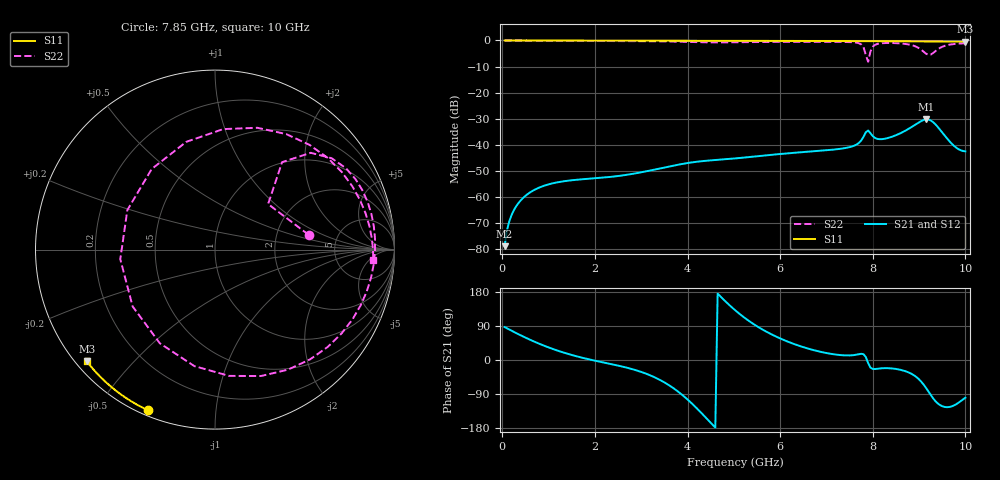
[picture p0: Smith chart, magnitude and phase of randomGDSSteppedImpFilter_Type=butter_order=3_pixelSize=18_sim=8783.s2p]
! freq	dB(S11)	phase(S11)	dB(S12)	phase(S12)
!  dB(S21)	phase(S21)	dB(S22)	phase(S22)
!S-par simulation data
#  GHz  S  DB  R 50
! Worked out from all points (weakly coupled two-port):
!   200 points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, 50 MHz to 10 GHz, reference 50 ohm
!   highest |S21| = -30.31 dB at 9.15 GHz (marker M1); lowest = -79.0 dB at 50 MHz (marker M2)
!   lowest |S11| = -0.5 dB at 10 GHz (marker M3), VSWR 37.00, Z = 1.54 - j18.7 ohm
!   |S11| at or under -10 dB: nowhere
!   |S22| runs from -8.2 to 0.0 dB; largest |S21 - S12| = 0
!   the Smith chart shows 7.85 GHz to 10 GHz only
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0.05  -0.00 -0.8  -78.95 86.9  -78.95 86.9  -0.00 -5.7
0.3  -0.01 -4.8  -63.64 71.0  -63.64 71.0  -0.05 -33.3
0.8  -0.02 -12.8  -56.44 42.8  -56.44 42.8  -0.10 -83.4
1.75  -0.04 -27.7  -53.24 5.2  -53.24 5.2  -0.14 -156.7
2.6  -0.05 -40.8  -51.79 -17.6  -51.79 -17.6  -0.19 147.7
3.4  -0.07 -52.7  -49.14 -52.4  -49.14 -52.4  -0.32 84.7
3.75  -0.08 -57.8  -47.85 -79.2  -47.85 -79.2  -0.45 47.2
4.15  -0.09 -63.6  -46.66 -121.4  -46.66 -121.4  -0.64 -6.6
4.6  -0.10 -69.9  -45.88 -178.4  -45.88 -178.4  -0.75 -74.1
5.05  -0.12 -76.2  -45.24 129.1  -45.24 129.1  -0.69 -132.5
5.7  -0.14 -85.0  -44.08 74.9  -44.08 74.9  -0.58 166.7
6.7  -0.19 -98.1  -42.58 26.8  -42.58 26.8  -0.51 99.6
7.7  -0.25 -110.8  -39.33 15.3  -39.33 15.3  -1.06 30.1
7.9  -0.27 -113.3  -34.57 -8.2  -34.57 -8.2  -8.18 40.6
8  -0.28 -114.5  -36.74 -23.7  -36.74 -23.7  -2.40 45.3
8.35  -0.31 -118.8  -37.32 -21.7  -37.32 -21.7  -0.97 8.3
8.8  -0.35 -124.3  -33.64 -34.2  -33.64 -34.2  -1.62 -40.8
9  -0.37 -126.8  -31.39 -51.2  -31.39 -51.2  -3.00 -83.6
9.15  -0.38 -128.6  -30.31 -73.7  -30.31 -73.7  -5.07 -145.4
9.4  -0.40 -131.6  -33.12 -114.2  -33.12 -114.2  -3.44 86.1
9.65  -0.43 -134.6  -38.56 -124.1  -38.56 -124.1  -1.64 31.5
10  -0.47 -138.9  -42.57 -99.5  -42.57 -99.5  -1.08 -3.6
